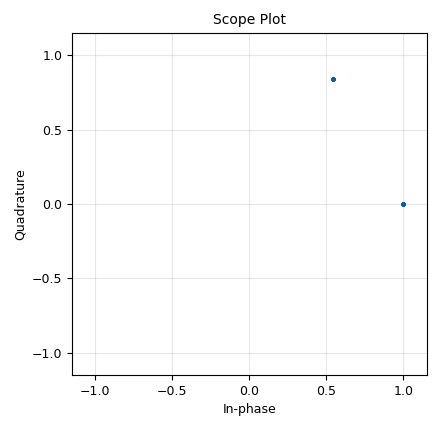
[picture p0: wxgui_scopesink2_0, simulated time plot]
<?xml version='1.0' encoding='utf-8'?>
<flow_graph>
<block>
<key>options</key>
<param><key>id</key><value>top_block</value></param>
<param><key>generate_options</key><value>wx_gui</value></param>
<param><key>category</key><value>Custom</value></param>
</block>
<block>
<key>random_source_x</key>
<param><key>id</key><value>random_source_x_0</value></param>
<param><key>type</key><value>short</value></param>
<param><key>min</key><value>0</value></param>
<param><key>max</key><value>2</value></param>
<param><key>num_samps</key><value>2000000</value></param>
<param><key>repeat</key><value>True</value></param>
</block>
<block>
<key>blocks_short_to_float</key>
<param><key>id</key><value>blocks_short_to_float_0</value></param>
<param><key>scale</key><value>1</value></param>
</block>
<block>
<key>variable</key>
<param><key>id</key><value>samp_rate</value></param>
<param><key>value</key><value>500000</value></param>
</block>
<block>
<key>blocks_throttle</key>
<param><key>id</key><value>blocks_throttle_0</value></param>
<param><key>type</key><value>float</value></param>
<param><key>samples_per_second</key><value>samp_rate</value></param>
</block>
<block>
<key>analog_phase_modulator_fc</key>
<param><key>id</key><value>analog_phase_modulator_fc_0</value></param>
<param><key>sensitivity</key><value>1</value></param>
</block>
<block>
<key>wxgui_scopesink2</key>
<param><key>id</key><value>wxgui_scopesink2_0</value></param>
<param><key>type</key><value>complex</value></param>
<param><key>title</key><value>Scope Plot</value></param>
<param><key>samp_rate</key><value>samp_rate</value></param>
<param><key>v_scale</key><value>0</value></param>
<param><key>v_offset</key><value>0</value></param>
<param><key>t_scale</key><value>0</value></param>
<param><key>ac_couple</key><value>False</value></param>
<param><key>xy_mode</key><value>True</value></param>
<param><key>num_inputs</key><value>1</value></param>
<param><key>trig_mode</key><value>gr.gr_TRIG_MODE_AUTO</value></param>
<param><key>y_axis_label</key><value>Counts</value></param>
</block>
<connection><source_block_id>random_source_x_0</source_block_id><sink_block_id>blocks_short_to_float_0</sink_block_id><source_key>0</source_key><sink_key>0</sink_key></connection>
<connection><source_block_id>blocks_short_to_float_0</source_block_id><sink_block_id>blocks_throttle_0</sink_block_id><source_key>0</source_key><sink_key>0</sink_key></connection>
<connection><source_block_id>blocks_throttle_0</source_block_id><sink_block_id>analog_phase_modulator_fc_0</sink_block_id><source_key>0</source_key><sink_key>0</sink_key></connection>
<connection><source_block_id>analog_phase_modulator_fc_0</source_block_id><sink_block_id>wxgui_scopesink2_0</sink_block_id><source_key>0</source_key><sink_key>0</sink_key></connection>
</flow_graph>
